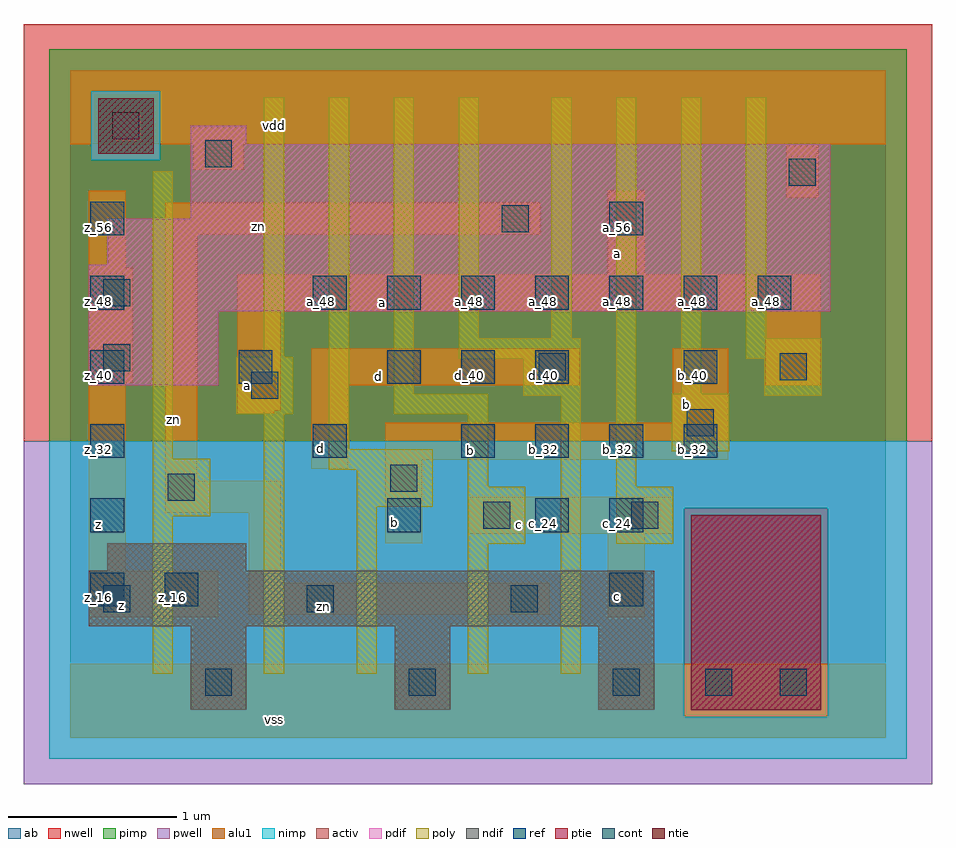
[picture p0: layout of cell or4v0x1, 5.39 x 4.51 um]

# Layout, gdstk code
import gdstk
lib = gdstk.Library(unit=1e-6, precision=2.5e-09)
def R(c, l, rs):  # rectangles x0, y0, x1, y1
    for r in rs: c.add(gdstk.rectangle(r[:2], r[2:], *l))
def A(c, l, x, y, w, h, nx, ny, dx, dy):  # array of equal rectangles
    R(c, l, [(x+i*dx, y+j*dy, x+i*dx+w, y+j*dy+h) for i in range(nx) for j in range(ny)])
ndif = (3, 0)
pdif = (4, 0)
ntie = (5, 0)
ptie = (6, 0)
ref = (24, 0)
cont = (25, 0)
pwell = (41, 0)
nwell = (42, 0)
activ = (43, 0)
pimp = (44, 0)
nimp = (45, 0)
poly = (46, 0)
alu1 = (49, 0)
ab = (63, 0)

or4v0x1 = lib.new_cell('or4v0x1')
A(or4v0x1, ndif, 0.715, 0.165, 0.33, 0.495, 3, 1, 1.21, 0)
R(or4v0x1, ndif, [(0.11,0.66,3.465,0.99), (0.22,0.99,1.045,1.155)])
R(or4v0x1, pdif, [(0.11,2.09,0.88,2.53), (0.11,2.53,4.51,2.805), (0.22,2.805,4.51,3.08), (0.715,3.08,4.51,3.52), (0.715,3.52,1.045,3.63)])
R(or4v0x1, ntie, [(0.165,3.465,0.495,3.795)])
R(or4v0x1, ptie, [(3.685,0.165,4.455,1.32)])
A(or4v0x1, ref, 0.12, 0.78, 0.2, 0.2, 1, 3, 0, 0.44)
A(or4v0x1, ref, 2.32, 1.66, 0.2, 0.2, 4, 1, 0.44, 0)
A(or4v0x1, ref, 0.12, 2.1, 0.2, 0.2, 3, 1, 0.88, 0)
A(or4v0x1, ref, 1.44, 2.54, 0.2, 0.2, 7, 1, 0.44, 0)
R(or4v0x1, ref, [(0.56,0.78,0.76,0.98), (3.2,0.78,3.4,0.98), (1.88,1.22,2.08,1.42), (2.76,1.22,2.96,1.42), (3.2,1.22,3.4,1.42), (1.44,1.66,1.64,1.86), (2.32,2.1,2.52,2.3), (2.76,2.1,2.96,2.3), (3.64,2.1,3.84,2.3), (0.12,2.54,0.32,2.74), (0.12,2.98,0.32,3.18), (3.2,2.98,3.4,3.18)])
A(or4v0x1, cont, 0.8, 0.25, 0.16, 0.16, 3, 1, 1.21, 0)
A(or4v0x1, cont, 0.195, 0.745, 0.16, 0.16, 3, 1, 1.21, 0)
R(or4v0x1, cont, [(3.77,0.25,3.93,0.41), (4.21,0.25,4.37,0.41), (2.45,1.24,2.61,1.4), (3.33,1.24,3.49,1.4), (0.58,1.405,0.74,1.565), (1.9,1.46,2.06,1.62), (3.66,1.79,3.82,1.95), (1.075,2.01,1.235,2.17), (2.78,2.12,2.94,2.28), (4.21,2.12,4.37,2.28), (0.195,2.175,0.355,2.335), (0.195,2.56,0.355,2.72), (2.56,3,2.72,3.16), (4.265,3.275,4.425,3.435), (0.8,3.385,0.96,3.545), (0.25,3.55,0.41,3.71)])
R(or4v0x1, pwell, [(-0.275,-0.275,5.115,1.76)])
R(or4v0x1, nwell, [(-0.275,1.76,5.115,4.235)])
A(or4v0x1, activ, 0.715, 0.165, 0.33, 0.495, 3, 1, 1.21, 0)
R(or4v0x1, activ, [(3.685,0.165,4.455,1.32), (0.11,0.66,3.465,0.99), (0.22,0.99,1.045,1.155), (0.11,2.09,0.88,2.53), (0.11,2.53,4.51,2.805), (0.22,2.805,4.51,3.08), (0.715,3.08,4.51,3.52), (0.165,3.465,0.495,3.795), (0.715,3.52,1.045,3.63)])
R(or4v0x1, pimp, [(3.645,0.125,4.495,1.36), (-0.125,1.76,4.965,3.425), (-0.125,3.425,0.125,3.835), (0.535,3.425,4.965,3.835), (-0.125,3.835,4.965,4.085)])
R(or4v0x1, nimp, [(-0.125,-0.125,4.965,0.125), (-0.125,0.125,3.645,1.36), (4.495,0.125,4.965,1.36), (-0.125,1.36,4.965,1.76), (0.125,3.425,0.535,3.835)])
R(or4v0x1, poly, [(0.49,0.38,0.61,1.315), (1.15,0.38,1.27,1.92), (1.7,0.38,1.82,1.37), (2.36,0.38,2.48,1.15), (2.91,0.38,3.03,2.03), (2.36,1.15,2.7,1.49), (3.24,1.15,3.58,1.49), (0.49,1.315,0.83,1.655), (1.7,1.37,2.15,1.59), (2.36,1.49,2.48,1.92), (3.24,1.49,3.36,3.8), (1.535,1.59,2.15,1.71), (0.49,1.655,0.61,3.36), (3.57,1.7,3.91,2.04), (1.535,1.71,1.655,3.8), (0.985,1.92,1.325,2.26), (1.92,1.92,2.48,2.04), (2.69,2.03,3.03,2.25), (4.12,2.03,4.46,2.25), (1.92,2.04,2.04,3.8), (3.625,2.04,3.745,3.8), (2.305,2.25,3.03,2.37), (4.01,2.25,4.46,2.37), (1.15,2.26,1.27,3.8), (2.305,2.37,2.425,3.8), (2.855,2.37,2.975,3.8), (4.01,2.37,4.13,3.8)])
R(or4v0x1, alu1, [(0,0,4.84,0.44), (0.11,0.715,0.88,0.99), (3.19,0.715,3.41,1.21), (1.06,0.73,2.845,0.92), (1.06,0.92,1.25,1.335), (0.11,0.99,0.33,2.105), (1.87,1.155,2.09,1.65), (2.365,1.21,3.575,1.43), (0.565,1.335,1.25,1.525), (0.565,1.525,0.755,2.985), (1.43,1.595,1.65,2.09), (1.87,1.65,3.905,1.87), (3.575,1.87,3.905,2.31), (0.99,1.925,1.21,1.94), (0.99,1.94,1.25,2.53), (1.43,2.09,3.025,2.31), (4.125,2.09,4.455,2.53), (0.11,2.105,0.37,2.79), (0.99,2.53,4.455,2.75), (3.19,2.75,3.41,3.245), (0.11,2.79,0.33,3.245), (0.565,2.985,2.79,3.175), (4.25,3.205,4.44,3.52), (0.73,3.37,1.03,3.52), (0,3.52,4.84,3.96)])
R(or4v0x1, ab, [(0,0,4.84,3.96)])
or4v0x1.add(gdstk.Label('vss', (1.21,0.11), layer=49, texttype=0))
or4v0x1.add(gdstk.Label('c', (3.245,0.8375), layer=49, texttype=0))
or4v0x1.add(gdstk.Label('zn', (1.505,0.7775), layer=49, texttype=0))
or4v0x1.add(gdstk.Label('c', (2.6675,1.265), layer=49, texttype=0))
or4v0x1.add(gdstk.Label('b', (1.925,1.2775), layer=49, texttype=0))
or4v0x1.add(gdstk.Label('z', (0.3025,0.7825), layer=49, texttype=0))
or4v0x1.add(gdstk.Label('b', (2.3775,1.705), layer=49, texttype=0))
or4v0x1.add(gdstk.Label('b', (3.6575,1.98), layer=49, texttype=0))
or4v0x1.add(gdstk.Label('d', (1.485,1.7175), layer=49, texttype=0))
or4v0x1.add(gdstk.Label('d', (1.8275,2.145), layer=49, texttype=0))
or4v0x1.add(gdstk.Label('a', (1.055,2.0875), layer=49, texttype=0))
or4v0x1.add(gdstk.Label('a', (1.855,2.585), layer=49, texttype=0))
or4v0x1.add(gdstk.Label('a', (3.245,2.8725), layer=49, texttype=0))
or4v0x1.add(gdstk.Label('zn', (0.6125,1.89), layer=49, texttype=0))
or4v0x1.add(gdstk.Label('z', (0.165,1.2675), layer=49, texttype=0))
or4v0x1.add(gdstk.Label('zn', (1.12,3.0325), layer=49, texttype=0))
or4v0x1.add(gdstk.Label('vdd', (1.21,3.63), layer=49, texttype=0))
or4v0x1.add(gdstk.Label('z_16', (0.61,0.83), layer=24, texttype=0))
or4v0x1.add(gdstk.Label('a_40', (1.05,2.15), layer=24, texttype=0))
or4v0x1.add(gdstk.Label('d_32', (1.49,1.71), layer=24, texttype=0))
or4v0x1.add(gdstk.Label('a_48', (1.49,2.59), layer=24, texttype=0))
or4v0x1.add(gdstk.Label('b_24', (1.93,1.27), layer=24, texttype=0))
or4v0x1.add(gdstk.Label('d_40', (1.93,2.15), layer=24, texttype=0))
or4v0x1.add(gdstk.Label('a_48', (1.93,2.59), layer=24, texttype=0))
or4v0x1.add(gdstk.Label('z_16', (0.17,0.83), layer=24, texttype=0))
or4v0x1.add(gdstk.Label('z_24', (0.17,1.27), layer=24, texttype=0))
or4v0x1.add(gdstk.Label('z_32', (0.17,1.71), layer=24, texttype=0))
or4v0x1.add(gdstk.Label('z_40', (0.17,2.15), layer=24, texttype=0))
or4v0x1.add(gdstk.Label('z_48', (0.17,2.59), layer=24, texttype=0))
or4v0x1.add(gdstk.Label('z_56', (0.17,3.03), layer=24, texttype=0))
or4v0x1.add(gdstk.Label('b_32', (2.37,1.71), layer=24, texttype=0))
or4v0x1.add(gdstk.Label('d_40', (2.37,2.15), layer=24, texttype=0))
or4v0x1.add(gdstk.Label('a_48', (2.37,2.59), layer=24, texttype=0))
or4v0x1.add(gdstk.Label('c_24', (2.81,1.27), layer=24, texttype=0))
or4v0x1.add(gdstk.Label('b_32', (2.81,1.71), layer=24, texttype=0))
or4v0x1.add(gdstk.Label('d_40', (2.81,2.15), layer=24, texttype=0))
or4v0x1.add(gdstk.Label('a_48', (2.81,2.59), layer=24, texttype=0))
or4v0x1.add(gdstk.Label('c_16', (3.25,0.83), layer=24, texttype=0))
or4v0x1.add(gdstk.Label('c_24', (3.25,1.27), layer=24, texttype=0))
or4v0x1.add(gdstk.Label('b_32', (3.25,1.71), layer=24, texttype=0))
or4v0x1.add(gdstk.Label('a_48', (3.25,2.59), layer=24, texttype=0))
or4v0x1.add(gdstk.Label('a_56', (3.25,3.03), layer=24, texttype=0))
or4v0x1.add(gdstk.Label('b_32', (3.69,1.71), layer=24, texttype=0))
or4v0x1.add(gdstk.Label('b_40', (3.69,2.15), layer=24, texttype=0))
or4v0x1.add(gdstk.Label('a_48', (3.69,2.59), layer=24, texttype=0))
or4v0x1.add(gdstk.Label('a_48', (4.13,2.59), layer=24, texttype=0))

lib.write_gds('or4v0x1.gds')
